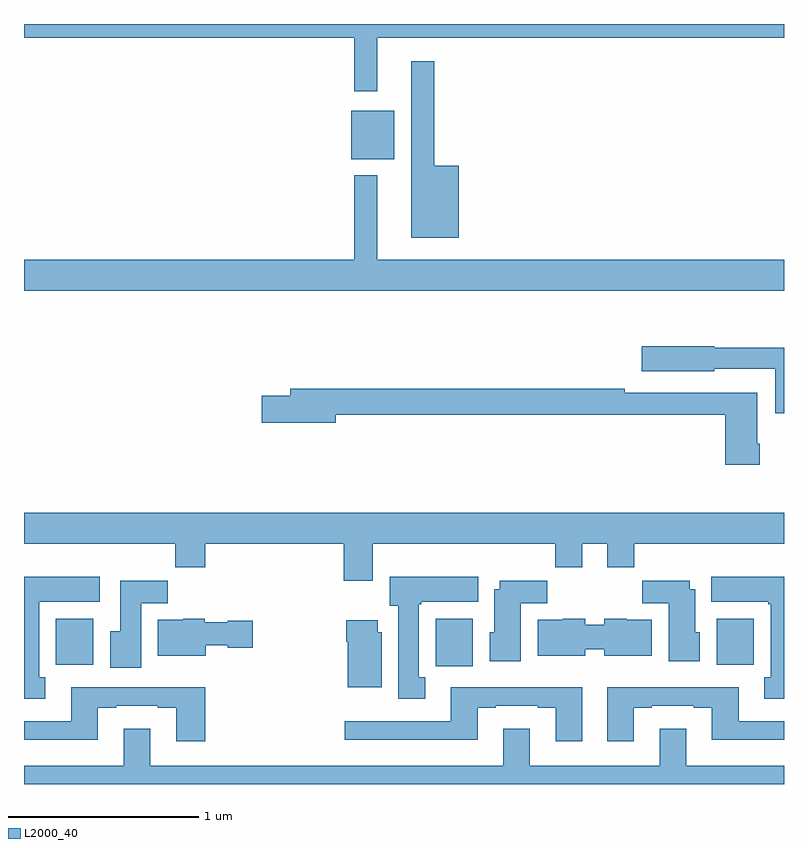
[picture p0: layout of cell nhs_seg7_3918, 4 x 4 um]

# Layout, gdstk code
import gdstk
lib = gdstk.Library(unit=1e-6, precision=1e-09)
def R(c, l, rs):  # rectangles x0, y0, x1, y1
    for r in rs: c.add(gdstk.rectangle(r[:2], r[2:], *l))
def P(c, l, *ps):  # polygons
    for p in ps: c.add(gdstk.Polygon(p, *l))
L2000_40 = (2000, 40)

nhs_seg7_3918 = lib.new_cell('nhs_seg7_3918')
R(nhs_seg7_3918, L2000_40, [(361.167,1018.62,361.363,1018.87), (359.168,1018.628,359.365,1018.87), (362.645,1018.628,362.842,1018.87), (360.722,1021.289,360.949,1021.543)])
P(nhs_seg7_3918, L2000_40, [(360.859,1021.928),(363,1021.928),(363,1022),(359,1022),(359,1021.928),(360.738,1021.928),(360.738,1021.647),(360.859,1021.647)],
  [(361.288,1021.255),(361.159,1021.255),(361.159,1021.804),(361.037,1021.804),(361.037,1020.875),(361.288,1020.875)],
  [(363,1020.76),(360.859,1020.76),(360.859,1021.204),(360.738,1021.204),(360.738,1020.76),(359,1020.76),(359,1020.596),(363,1020.596)],
  [(363,1020.295),(362.634,1020.295),(362.634,1020.303),(362.25,1020.303),(362.25,1020.173),(362.634,1020.173),(362.634,1020.186),(362.955,1020.186),(362.955,1019.952),(363,1019.952)],
  [(362.873,1019.791),(362.86,1019.791),(362.86,1020.06),(362.162,1020.06),(362.162,1020.08),(360.401,1020.08),(360.401,1020.044),(360.252,1020.044),(360.252,1019.902),(360.64,1019.902),(360.64,1019.944),(362.69,1019.944),(362.69,1019.679),(362.873,1019.679)],
  [(360.835,1019.264),(361.795,1019.264),(361.795,1019.14),(361.939,1019.14),(361.939,1019.264),(362.069,1019.264),(362.069,1019.14),(362.213,1019.14),(362.213,1019.264),(363,1019.264),(363,1019.428),(359,1019.428),(359,1019.264),(359.797,1019.264),(359.797,1019.14),(359.954,1019.14),(359.954,1019.264),(360.683,1019.264),(360.683,1019.07),(360.835,1019.07)],
  [(359.113,1018.562),(359.08,1018.562),(359.08,1018.958),(359.398,1018.958),(359.398,1019.092),(359,1019.092),(359,1018.449),(359.113,1018.449)],
  [(363,1019.092),(362.618,1019.092),(362.618,1018.958),(362.917,1018.958),(362.917,1018.945),(362.93,1018.945),(362.93,1018.562),(362.897,1018.562),(362.897,1018.449),(363,1018.449)],
  [(361.111,1018.561),(361.078,1018.561),(361.078,1018.945),(361.092,1018.945),(361.092,1018.958),(361.39,1018.958),(361.39,1019.092),(360.926,1019.092),(360.926,1018.938),(360.971,1018.938),(360.971,1018.449),(361.111,1018.449)],
  [(359.617,1018.952),(359.756,1018.952),(359.756,1019.071),(359.507,1019.071),(359.507,1018.804),(359.453,1018.804),(359.453,1018.611),(359.617,1018.611)],
  [(361.615,1018.952),(361.754,1018.952),(361.754,1019.071),(361.505,1019.071),(361.505,1019.026),(361.475,1019.026),(361.475,1018.8),(361.451,1018.8),(361.451,1018.646),(361.615,1018.646)],
  [(362.557,1018.8),(362.533,1018.8),(362.533,1019.026),(362.503,1019.026),(362.503,1019.071),(362.254,1019.071),(362.254,1018.952),(362.393,1018.952),(362.393,1018.646),(362.557,1018.646)],
  [(359.956,1018.73),(360.072,1018.73),(360.072,1018.718),(360.205,1018.718),(360.205,1018.86),(360.072,1018.86),(360.072,1018.852),(359.952,1018.852),(359.952,1018.87),(359.838,1018.87),(359.838,1018.864),(359.705,1018.864),(359.705,1018.676),(359.956,1018.676)],
  [(361.954,1018.709),(362.054,1018.709),(362.054,1018.676),(362.305,1018.676),(362.305,1018.864),(362.172,1018.864),(362.172,1018.87),(362.054,1018.87),(362.054,1018.839),(361.954,1018.839),(361.954,1018.87),(361.836,1018.87),(361.836,1018.864),(361.703,1018.864),(361.703,1018.676),(361.954,1018.676)],
  [(360.883,1018.8),(360.862,1018.8),(360.862,1018.861),(360.697,1018.861),(360.697,1018.748),(360.704,1018.748),(360.704,1018.508),(360.883,1018.508)],
  [(362.209,1018.401),(362.305,1018.401),(362.305,1018.413),(362.525,1018.413),(362.525,1018.401),(362.621,1018.401),(362.621,1018.232),(363,1018.232),(363,1018.329),(362.761,1018.329),(362.761,1018.51),(362.069,1018.51),(362.069,1018.224),(362.209,1018.224)],
  [(361.939,1018.51),(361.247,1018.51),(361.247,1018.329),(360.687,1018.329),(360.687,1018.232),(361.387,1018.232),(361.387,1018.401),(361.483,1018.401),(361.483,1018.413),(361.703,1018.413),(361.703,1018.401),(361.799,1018.401),(361.799,1018.224),(361.939,1018.224)],
  [(359.954,1018.51),(359.713,1018.51),(359.713,1018.509),(359.249,1018.509),(359.249,1018.329),(359,1018.329),(359,1018.232),(359.389,1018.232),(359.389,1018.401),(359.485,1018.401),(359.485,1018.413),(359.705,1018.413),(359.705,1018.401),(359.801,1018.401),(359.801,1018.224),(359.954,1018.224)],
  [(359.525,1018.291),(359.525,1018.096),(359,1018.096),(359,1018),(363,1018),(363,1018.096),(362.485,1018.096),(362.485,1018.291),(362.345,1018.291),(362.345,1018.096),(361.663,1018.096),(361.663,1018.291),(361.523,1018.291),(361.523,1018.096),(359.665,1018.096),(359.665,1018.291)])

lib.write_gds('nhs_seg7_3918.gds')
